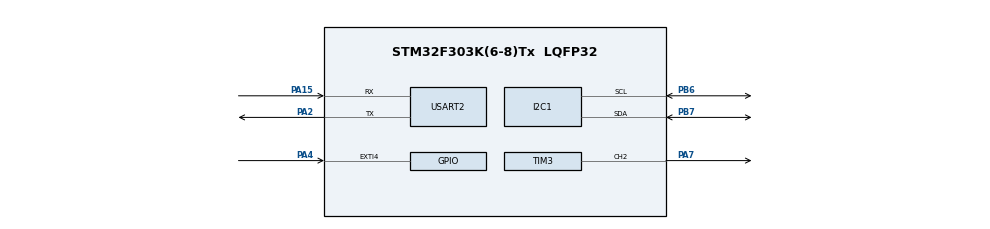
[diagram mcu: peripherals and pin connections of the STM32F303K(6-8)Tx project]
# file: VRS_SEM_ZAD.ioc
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Dma.Request0=USART2_RX
Dma.Request1=USART2_TX
Dma.USART2_RX.0.Direction=DMA_PERIPH_TO_MEMORY
Dma.USART2_RX.0.Instance=DMA1_Channel6
Dma.USART2_RX.0.MemDataAlignment=DMA_MDATAALIGN_BYTE
Dma.USART2_RX.0.MemInc=DMA_MINC_ENABLE
Dma.USART2_RX.0.Mode=DMA_NORMAL
Dma.USART2_RX.0.PeriphDataAlignment=DMA_PDATAALIGN_BYTE
Dma.USART2_RX.0.PeriphInc=DMA_PINC_DISABLE
Dma.USART2_RX.0.Priority=DMA_PRIORITY_MEDIUM
Dma.USART2_TX.1.Direction=DMA_MEMORY_TO_PERIPH
Dma.USART2_TX.1.Instance=DMA1_Channel7
Dma.USART2_TX.1.MemDataAlignment=DMA_MDATAALIGN_BYTE
Dma.USART2_TX.1.MemInc=DMA_MINC_ENABLE
Dma.USART2_TX.1.Mode=DMA_NORMAL
Dma.USART2_TX.1.PeriphDataAlignment=DMA_PDATAALIGN_BYTE
Dma.USART2_TX.1.PeriphInc=DMA_PINC_DISABLE
Dma.USART2_TX.1.Priority=DMA_PRIORITY_MEDIUM
Mcu.Family=STM32F3
Mcu.Name=STM32F303K(6-8)Tx
Mcu.Package=LQFP32
NVIC.DMA1_Channel6_IRQn=true\:0\:0\:false\:false\:true\:false\:true\:true
NVIC.DMA1_Channel7_IRQn=true\:0\:0\:false\:false\:true\:false\:true\:true
NVIC.EXTI4_IRQn=true\:0\:0\:false\:false\:true\:true\:true\:true
NVIC.I2C1_EV_IRQn=true\:0\:0\:false\:false\:true\:true\:true\:true
NVIC.PriorityGroup=NVIC_PRIORITYGROUP_4
PA15.Mode=Asynchronous
PA15.Signal=USART2_RX
PA2.Mode=Asynchronous
PA2.Signal=USART2_TX
PA4.GPIO_ModeDefaultEXTI=GPIO_MODE_IT_FALLING
PA4.GPIO_PuPd=GPIO_PULLUP
PA4.Signal=GPXTI4
PA6.Signal=S_TIM3_CH1
PA7.Signal=S_TIM3_CH2
PB6.GPIO_Pu=GPIO_PULLUP
PB6.Mode=I2C
PB6.Signal=I2C1_SCL
PB7.GPIO_Pu=GPIO_PULLUP
PB7.Mode=I2C
PB7.Signal=I2C1_SDA
ProjectManager.HeapSize=0x200
ProjectManager.StackSize=0x400
ProjectManager.TargetToolchain=STM32CubeIDE
RCC.AHBFreq_Value=64000000
RCC.APB1CLKDivider=RCC_HCLK_DIV2
RCC.APB1Freq_Value=32000000
RCC.APB1TimFreq_Value=64000000
RCC.APB2Freq_Value=64000000
RCC.APB2TimFreq_Value=64000000
RCC.CortexFreq_Value=64000000
RCC.HCLKFreq_Value=64000000
RCC.HSE_VALUE=8000000
RCC.HSI_VALUE=8000000
RCC.PLLMUL=RCC_PLL_MUL16
RCC.SYSCLKFreq_VALUE=64000000
RCC.SYSCLKSourceVirtual=RCC_SYSCLKSOURCE_PLLCLK
SH.S_TIM3_CH1.0=TIM3_CH1
SH.S_TIM3_CH2.0=TIM3_CH2,PWM Generation2 CH2
TIM3.AutoReloadPreload=TIM_AUTORELOAD_PRELOAD_ENABLE
TIM3.Channel-PWM\ Generation2\ CH2=TIM_CHANNEL_2
TIM3.Period=200-1
TIM3.Prescaler=6400-1
USART2.VirtualMode-Asynchronous=VM_ASYNC
VP_TIM3_VS_ClockSourceINT.Mode=Internal
board=custom

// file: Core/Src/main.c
/* USER CODE BEGIN Header */
/**
  ******************************************************************************
  * @file           : main.c
  * @brief          : Main program body
  ******************************************************************************
  * @attention
  *
  * Copyright (c) 2022 STMicroelectronics.
  * All rights reserved.
  *
  * This software is licensed under terms that can be found in the LICENSE file
  * in the root directory of this software component.
  * If no LICENSE file comes with this software, it is provided AS-IS.
  *
  ******************************************************************************
  */
/* USER CODE END Header */
#include "main.h"
#include "dma.h"
#include "i2c.h"
#include "tim.h"
#include "usart.h"
#include "gpio.h"

/* USER CODE BEGIN Includes */
#include "string.h"
#include "stdio.h"
#include "vd6283tx.h"
/* USER CODE END Includes */

/* USER CODE BEGIN PV */
char formated_text[80];
int data[6], temp;
int angleStep = 0;
int itterations = 0;
double cctData[4] = {0};
uint8_t test;
uint8_t status = 0;
uint8_t alreadyInitialized = 0;
uint8_t startSending = 0;
/* USER CODE END PV */

void SystemClock_Config(void);
/* USER CODE BEGIN PFP */
void proccesDmaData(uint8_t sign);
void Servo_Control(uint16_t angle);
/* USER CODE END PFP */

int main(void)
{

  /* MCU Configuration--------------------------------------------------------*/

  /* Reset of all peripherals, Initializes the Flash interface and the Systick. */
  HAL_Init();

  /* USER CODE BEGIN Init */
  LL_APB2_GRP1_EnableClock(LL_APB2_GRP1_PERIPH_SYSCFG);
  LL_APB1_GRP1_EnableClock(LL_APB1_GRP1_PERIPH_PWR);

  /* System interrupt init*/
  NVIC_SetPriorityGrouping(NVIC_PRIORITYGROUP_4);

  /* SysTick_IRQn interrupt configuration */
  NVIC_SetPriority(SysTick_IRQn, NVIC_EncodePriority(NVIC_GetPriorityGrouping(),15, 0));

  /* USER CODE END Init */

  /* Configure the system clock */
  SystemClock_Config();

  /* Initialize all configured peripherals */
  MX_GPIO_Init();
  MX_DMA_Init();
  MX_I2C1_Init();
  MX_USART2_UART_Init();
  MX_TIM3_Init();
  /* USER CODE BEGIN 2 */
  int i = 0;
  float angle = 0;
  HAL_TIM_PWM_Start(&htim3,TIM_CHANNEL_2);
  USART2_RegisterCallback(proccesDmaData);
  /* USER CODE END 2 */

  /* Infinite loop */
  while (1)
  {

    /* USER CODE BEGIN 3 */
#if !POLLING
	  USART2_CheckDmaReception();
	  LL_mDelay(10);
#else
	  if(status == 1)
	  {
		  if(!alreadyInitialized)
		  {
			  vd6283tx_init();
			  status = 0;
			  i = 0;
			  angle = 0;
			  alreadyInitialized = 1;
			  vd6283tx_clear_interrupt();
		  }
	  }
	  if(status == 2)
	  {
		  vd6283tx_de_init();
		  status = 0;
		  alreadyInitialized = 0;
		  angleStep = 0;
		  itterations = 0;
	  }
	  if(startSending == 1)
	  {

		  if(vd6283tx_get_interrupt() == 0x00)
	  	  	  {
			  	  if(i == 0)
			  	  {
			  	  	Servo_Control(0);
			  	  	LL_mDelay(3000);
			  	  }
	  		  	  data[0] = vd6283tx_get_als_ch1();  //RED
	  		  	  data[1] = vd6283tx_get_als_ch2();  //VISIBLE
	  		  	  data[2] = vd6283tx_get_als_ch3();  //BLUE
	  		  	  data[3] = vd6283tx_get_als_ch4();  //GREEN
	  		  	  data[4] = vd6283tx_get_als_ch5();  //IR
	  		  	  data[5] = vd6283tx_get_als_ch6();  //CLEAR
	  		  	  vd6283tx_calculate_cct(data[0],data[3],data[2],cctData);
	  		  	  vd6283tx_clear_interrupt();
	  		  	  memset(formated_text, '\0', sizeof(formated_text));
	  	  	  	  sprintf(formated_text, "%0.2f, %0.2f, %0.2f, %0.2f, %0.0fx\r\n",cctData[0],cctData[1],cctData[2],cctData[3], angle);
	  	  	  	  USART2_PutBuffer((uint8_t*)formated_text, strlen(formated_text));
	  	  	  	  i++;
	  	  	  	  angle += angleStep;
	  	  	  	  if(i != itterations)
	  	  	  	  {
	  	  	  	  	  Servo_Control(angle);
	  	  	  	  	  LL_mDelay(100*angleStep);
//	  	  	  	  	  vd6283tx_clear_interrupt();
	  	  	  	  }
	  	  	  	  if(i == itterations+1)
	  	  	  	  {
	  	  	  		  status = 2;
	  	  	  		  startSending = 0;
	  	  	  		  memset(formated_text, '\0', sizeof(formated_text));
	  	  	  		  sprintf(formated_text, "o");
	  	  	  		  USART2_PutBuffer((uint8_t*)formated_text, strlen(formated_text));
	  	  	  		  LL_mDelay(1000);
	  	  	  		  vd6283tx_de_init();
	  	  	  		  alreadyInitialized = 0;
	  	  	  	  }
	  	  	  }
		  else
			  LL_mDelay(10);
	  }
	  else
		  LL_mDelay(100);
#endif
  }
  /* USER CODE END 3 */
}

void SystemClock_Config(void)
{
  LL_FLASH_SetLatency(LL_FLASH_LATENCY_2);
  while(LL_FLASH_GetLatency()!= LL_FLASH_LATENCY_2)
  {
  }
  LL_RCC_HSI_Enable();

   /* Wait till HSI is ready */
  while(LL_RCC_HSI_IsReady() != 1)
  {

  }
  LL_RCC_HSI_SetCalibTrimming(16);
  LL_RCC_PLL_ConfigDomain_SYS(LL_RCC_PLLSOURCE_HSI_DIV_2, LL_RCC_PLL_MUL_16);
  LL_RCC_PLL_Enable();

   /* Wait till PLL is ready */
  while(LL_RCC_PLL_IsReady() != 1)
  {

  }
  LL_RCC_SetAHBPrescaler(LL_RCC_SYSCLK_DIV_1);
  LL_RCC_SetAPB1Prescaler(LL_RCC_APB1_DIV_2);
  LL_RCC_SetAPB2Prescaler(LL_RCC_APB2_DIV_1);
  LL_RCC_SetSysClkSource(LL_RCC_SYS_CLKSOURCE_PLL);

   /* Wait till System clock is ready */
  while(LL_RCC_GetSysClkSource() != LL_RCC_SYS_CLKSOURCE_STATUS_PLL)
  {

  }
  LL_SetSystemCoreClock(64000000);

   /* Update the time base */
  if (HAL_InitTick (TICK_INT_PRIORITY) != HAL_OK)
  {
    Error_Handler();
  }
  LL_RCC_SetI2CClockSource(LL_RCC_I2C1_CLKSOURCE_HSI);
}

/* USER CODE BEGIN 4 */

void Servo_Control(uint16_t angle)
{
   float temp;
   temp =(1.0 / 9.0) * angle + 5.0;  //�?�空比�?? = 1/9 * 角度 + 5
   __HAL_TIM_SET_COMPARE(&htim3, TIM_CHANNEL_2, (uint16_t )temp);//修改�?�空�????????
   //htim3.Instance->CCR1 = temp;//修改�?�空�????????
}

void proccesDmaData(uint8_t sign)
{
	static char response[2] = {0};
	static uint8_t angleChange = 0;
	if(angleChange == 1)
	{
		angleStep = sign;
		itterations = 180/angleStep;
		angleChange = 0;
	}
	if(sign == '1' && angleChange == 0)
	{
		status = 1;
		startSending = 0;
		sprintf(response, "%d",status);
		USART2_PutBuffer((uint8_t*)response, strlen(response));
		LL_mDelay(1000);
		memset(data, '\0', sizeof(data));
		angleChange = 1;
	}
	if(sign == '2')
	{
		status = 2;
		angleStep = 0;
		itterations = 0;
		startSending = 0;
		sprintf(response, "%d",status);
		USART2_PutBuffer((uint8_t*)response, strlen(response));
		LL_mDelay(1000);
		memset(data, '\0', sizeof(data));
	}
	if(sign == '3')
	{
		status = 3;
		startSending = 1;
		sprintf(response, "%d",status);
		USART2_PutBuffer((uint8_t*)response, strlen(response));
		LL_mDelay(1000);
		memset(data, '\0', sizeof(data));
	}
}
/* USER CODE END 4 */

void Error_Handler(void)
{
  __disable_irq();
  while (1)
  {
  }
}
